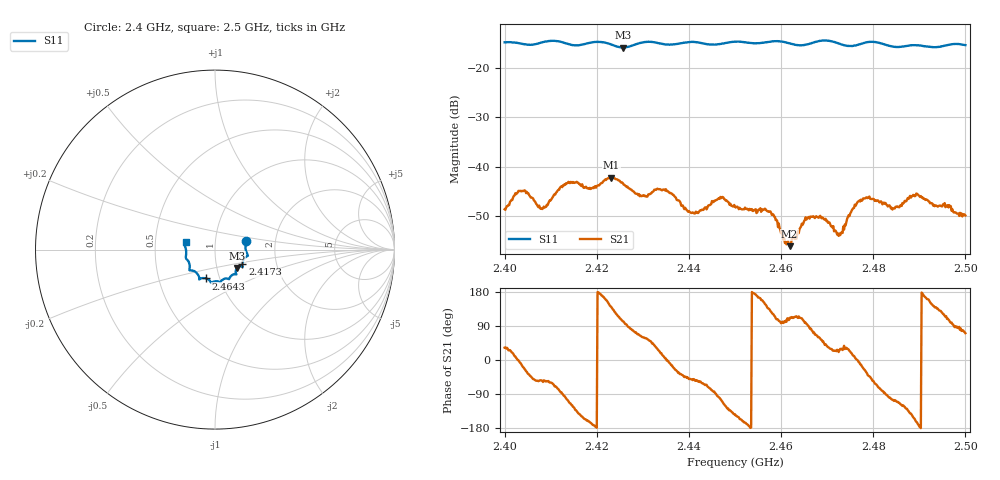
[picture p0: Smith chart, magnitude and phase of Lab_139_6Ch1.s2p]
# Hz S RI R 50
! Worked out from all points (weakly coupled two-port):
!   601 points, 2.4 GHz to 2.5 GHz, reference 50 ohm
!   highest |S21| = -42.22 dB at 2.4232 GHz (marker M1); lowest = -56.1 dB at 2.4618 GHz (marker M2)
!   lowest |S11| = -15.9 dB at 2.4257 GHz (marker M3), VSWR 1.38, Z = 62.5 - j13.1 ohm
!   |S11| at or under -10 dB: start of sweep to end of sweep
!   S12 and S22 are empty: the file has one direction only
!   S11 on the Smith chart (normalised r, x): 2.4 GHz: 1.41, +0.15; 2.4173 GHz: 1.34, -0.23; 2.4643 GHz: 0.86, -0.28; 2.5 GHz: 0.72, +0.06
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2.4e9  0.1731 0.05  0.00311 0.00199  0 0  0 0
2.403333e9  0.1728 0.0322  0.00559 -0.000686  0 0  0 0
2.408167e9  0.1791 -0.0223  0.00212 -0.00305  0 0  0 0
2.4135e9  0.1696 -0.0431  -0.00163 -0.00657  0 0  0 0
2.416667e9  0.153 -0.0749  -0.00542 -0.00331  0 0  0 0
2.417333e9  0.1523 -0.0823  -0.00555 -0.0025  0 0  0 0
2.423167e9  0.144 -0.0932  -0.00589 0.00502  0 0  0 0
2.425667e9  0.1228 -0.1024  -0.00142 0.00663  0 0  0 0
2.429833e9  0.1177 -0.1355  0.00247 0.00437  0 0  0 0
2.433333e9  0.1125 -0.1367  0.0053 0.00262  0 0  0 0
2.440833e9  0.0784 -0.1646  0.00206 -0.00275  0 0  0 0
2.447e9  0.0403 -0.1695  -0.00129 -0.00462  0 0  0 0
2.45e9  0.0297 -0.1809  -0.00314 -0.00234  0 0  0 0
2.457833e9  -0.0181 -0.1829  -0.00206 0.00271  0 0  0 0
2.461833e9  -0.0288 -0.1736  -0.00048 0.00149  0 0  0 0
2.464333e9  -0.0502 -0.1606  -0.000867 0.00231  0 0  0 0
2.466667e9  -0.0764 -0.1602  0.000653 0.00304  0 0  0 0
2.472667e9  -0.0896 -0.1499  0.00189 0.000922  0 0  0 0
2.477e9  -0.1267 -0.1166  0.0045 -0.000511  0 0  0 0
2.483333e9  -0.141 -0.0893  -0.000504 -0.00398  0 0  0 0
2.489833e9  -0.1628 -0.0419  -0.00505 -0.000784  0 0  0 0
2.5e9  -0.1636 0.0422  0.00105 0.00302  0 0  0 0
